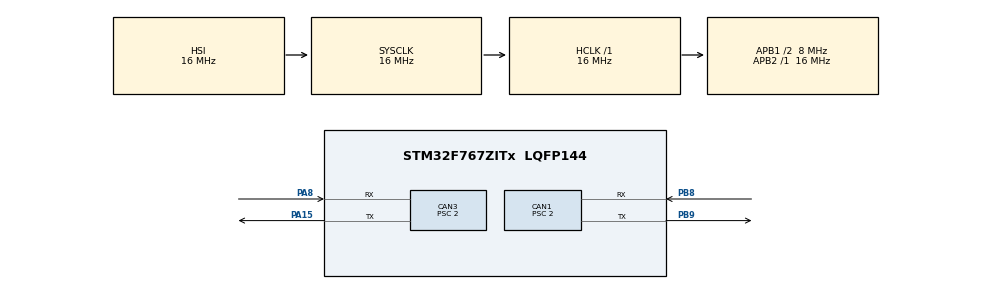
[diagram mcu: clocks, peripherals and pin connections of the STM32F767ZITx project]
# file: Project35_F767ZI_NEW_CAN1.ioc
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CAN1.BS1=CAN_BS1_13TQ
CAN1.BS2=CAN_BS2_2TQ
CAN1.CalculateBaudRate=250000
CAN1.CalculateTimeBit=4000.00
CAN1.CalculateTimeQuantum=250.0
CAN1.Prescaler=2
CAN3.BS1=CAN_BS1_13TQ
CAN3.BS2=CAN_BS2_2TQ
CAN3.CalculateBaudRate=250000
CAN3.CalculateTimeBit=4000.00
CAN3.CalculateTimeQuantum=250.0
CAN3.Prescaler=2
Mcu.Family=STM32F7
Mcu.Name=STM32F767ZITx
Mcu.Package=LQFP144
NVIC.CAN1_RX0_IRQn=true\:0\:0\:false\:false\:true\:true\:true
NVIC.CAN3_RX0_IRQn=true\:0\:0\:false\:false\:true\:true\:true
NVIC.PriorityGroup=NVIC_PRIORITYGROUP_4
PA15.Mode=CAN_Activate
PA15.Signal=CAN3_TX
PA8.Mode=CAN_Activate
PA8.Signal=CAN3_RX
PB8.Mode=CAN_Activate
PB8.Signal=CAN1_RX
PB9.Mode=CAN_Activate
PB9.Signal=CAN1_TX
PH0/OSC_IN.Mode=HSE-External-Oscillator
PH0/OSC_IN.Signal=RCC_OSC_IN
PH1/OSC_OUT.Mode=HSE-External-Oscillator
PH1/OSC_OUT.Signal=RCC_OSC_OUT
ProjectManager.HeapSize=0x200
ProjectManager.StackSize=0x400
ProjectManager.TargetToolchain=EWARM V8.32
RCC.48MHZClocksFreq_Value=24000000
RCC.AHBFreq_Value=16000000
RCC.APB1CLKDivider=RCC_HCLK_DIV2
RCC.APB1Freq_Value=8000000
RCC.APB1TimFreq_Value=16000000
RCC.APB2Freq_Value=16000000
RCC.APB2TimFreq_Value=16000000
RCC.CortexFreq_Value=16000000
RCC.HCLKFreq_Value=16000000
RCC.HSE_VALUE=16000000
RCC.HSI_VALUE=16000000
RCC.LSE_VALUE=32768
RCC.PLLMUL=RCC_PLL_MUL9
RCC.PRESCALERUSB=RCC_USBCLKSOURCE_PLL_DIV1_5
RCC.SYSCLKFreq_VALUE=16000000
RCC.SYSCLKSourceVirtual=RCC_SYSCLKSOURCE_PLLCLK
RCC.USBFreq_Value=96000000
RCC.VCOOutputFreq_Value=192000000
board=NUCLEO-F767ZI

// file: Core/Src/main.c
/* USER CODE BEGIN Header */
/**
  ******************************************************************************
  * @file           : main.c
  * @brief          : Main program body
  ******************************************************************************
  * @attention
  *
  * <h2><center>&copy; Copyright (c) 2021 STMicroelectronics.
  * All rights reserved.</center></h2>
  *
  * This software component is licensed by ST under BSD 3-Clause license,
  * the "License"; You may not use this file except in compliance with the
  * License. You may obtain a copy of the License at:
  *                        opensource.org/licenses/BSD-3-Clause
  *
  ******************************************************************************
  */
/* USER CODE END Header */
#include "main.h"

CAN_HandleTypeDef hcan1;
CAN_HandleTypeDef hcan3;

/* USER CODE BEGIN PV */
CAN_HandleTypeDef hcan1;
CAN_TxHeaderTypeDef pTxHeader;
CAN_RxHeaderTypeDef pRxHeader;
uint32_t pTxMailbox;
uint8_t a[]={0, 0, 0, 0, 0, 0, 0, 0};
uint8_t r[8];
CAN_FilterTypeDef sFilterConfig;

CAN_HandleTypeDef hcan3;
CAN_TxHeaderTypeDef pTx3Header;
CAN_RxHeaderTypeDef pRx3Header;
uint32_t pTx3Mailbox;
uint8_t a3[]={0, 0, 0, 0, 0, 0, 0, 0};
uint8_t r3[8];
CAN_FilterTypeDef s3FilterConfig;

CAN_HandleTypeDef hcan2;
CAN_TxHeaderTypeDef pTx2Header;
CAN_RxHeaderTypeDef pRx2Header;
uint32_t pTx2Mailbox;
uint8_t a2[]={0, 0, 0, 0, 0, 0, 0, 0};
uint8_t r2[8];
CAN_FilterTypeDef s2FilterConfig;
/* USER CODE END PV */

void SystemClock_Config(void);
static void MX_GPIO_Init(void);
static void MX_CAN1_Init(void);
static void MX_CAN3_Init(void);

int main(void)
{

  /* MCU Configuration--------------------------------------------------------*/

  /* Reset of all peripherals, Initializes the Flash interface and the Systick. */
  HAL_Init();

  /* Configure the system clock */
  SystemClock_Config();

  /* Initialize all configured peripherals */
  MX_GPIO_Init();
  MX_CAN1_Init();
  MX_CAN3_Init();
  /* USER CODE BEGIN 2 */
pTxHeader.DLC = 8;
pTxHeader.IDE = CAN_ID_STD;
pTxHeader.RTR = CAN_RTR_DATA;
pTxHeader.StdId = 0x244;

sFilterConfig.FilterFIFOAssignment = CAN_FILTER_FIFO0;
sFilterConfig.FilterIdHigh = 0;
sFilterConfig.FilterIdLow = 0;
sFilterConfig.FilterMaskIdHigh = 0;
sFilterConfig.FilterIdLow = 0;
sFilterConfig.FilterScale = CAN_FILTERSCALE_32BIT;
sFilterConfig.FilterActivation = ENABLE;

HAL_CAN_ConfigFilter(&hcan1, &sFilterConfig);

HAL_CAN_Start(&hcan1);
HAL_CAN_ActivateNotification(&hcan1, CAN_IT_RX_FIFO0_MSG_PENDING);

pTx3Header.DLC = 8;
pTx3Header.IDE = CAN_ID_STD;
pTx3Header.RTR = CAN_RTR_DATA;
pTx3Header.StdId = 0x247;

s3FilterConfig.FilterFIFOAssignment = CAN_FILTER_FIFO0;
s3FilterConfig.FilterIdHigh = 0;
s3FilterConfig.FilterIdLow = 0;
s3FilterConfig.FilterMaskIdHigh = 0;
s3FilterConfig.FilterIdLow = 0;
s3FilterConfig.FilterScale = CAN_FILTERSCALE_32BIT;
s3FilterConfig.FilterActivation = ENABLE;

HAL_CAN_ConfigFilter(&hcan3, &s3FilterConfig);

HAL_CAN_Start(&hcan3);
HAL_CAN_ActivateNotification(&hcan3, CAN_IT_RX_FIFO0_MSG_PENDING);
/*
pTx2Header.DLC = 8;
pTx2Header.IDE = CAN_ID_STD;
pTx2Header.RTR = CAN_RTR_DATA;
pTx2Header.StdId = 0x237;

s2FilterConfig.FilterFIFOAssignment = CAN_FILTER_FIFO0;
s2FilterConfig.FilterIdHigh = 0;
s2FilterConfig.FilterIdLow = 0;
s2FilterConfig.FilterMaskIdHigh = 0;
s2FilterConfig.FilterIdLow = 0;
s2FilterConfig.FilterScale = CAN_FILTERSCALE_32BIT;
s2FilterConfig.FilterActivation = ENABLE;

HAL_CAN_ConfigFilter(&hcan2, &s2FilterConfig);

HAL_CAN_Start(&hcan2);
HAL_CAN_ActivateNotification(&hcan2, CAN_IT_RX_FIFO0_MSG_PENDING);
*/
  /* USER CODE END 2 */

  /* Infinite loop */
  /* USER CODE BEGIN WHILE */
  while (1)
  {
    for(int i=0;i<8;i++){a[i]++; a3[i]++; a2[i]++;}
  HAL_Delay(1000);
    HAL_CAN_AddTxMessage(&hcan1, &pTxHeader, a, &pTxMailbox);
    HAL_CAN_AddTxMessage(&hcan3, &pTx3Header, a3, &pTx3Mailbox);
   // HAL_CAN_AddTxMessage(&hcan2, &pTx2Header, a2, &pTx2Mailbox);
    /* USER CODE END WHILE */

  }
}

void SystemClock_Config(void)
{
  RCC_OscInitTypeDef RCC_OscInitStruct = {0};
  RCC_ClkInitTypeDef RCC_ClkInitStruct = {0};

  /** Configure the main internal regulator output voltage
  */
  __HAL_RCC_PWR_CLK_ENABLE();
  __HAL_PWR_VOLTAGESCALING_CONFIG(PWR_REGULATOR_VOLTAGE_SCALE3);
  /** Initializes the RCC Oscillators according to the specified parameters
  * in the RCC_OscInitTypeDef structure.
  */
  RCC_OscInitStruct.OscillatorType = RCC_OSCILLATORTYPE_HSI;
  RCC_OscInitStruct.HSIState = RCC_HSI_ON;
  RCC_OscInitStruct.HSICalibrationValue = RCC_HSICALIBRATION_DEFAULT;
  RCC_OscInitStruct.PLL.PLLState = RCC_PLL_NONE;
  if (HAL_RCC_OscConfig(&RCC_OscInitStruct) != HAL_OK)
  {
    Error_Handler();
  }
  /** Initializes the CPU, AHB and APB buses clocks
  */
  RCC_ClkInitStruct.ClockType = RCC_CLOCKTYPE_HCLK|RCC_CLOCKTYPE_SYSCLK
                              |RCC_CLOCKTYPE_PCLK1|RCC_CLOCKTYPE_PCLK2;
  RCC_ClkInitStruct.SYSCLKSource = RCC_SYSCLKSOURCE_HSI;
  RCC_ClkInitStruct.AHBCLKDivider = RCC_SYSCLK_DIV1;
  RCC_ClkInitStruct.APB1CLKDivider = RCC_HCLK_DIV2;
  RCC_ClkInitStruct.APB2CLKDivider = RCC_HCLK_DIV1;

  if (HAL_RCC_ClockConfig(&RCC_ClkInitStruct, FLASH_LATENCY_0) != HAL_OK)
  {
    Error_Handler();
  }
}

static void MX_CAN1_Init(void)
{

  hcan1.Instance = CAN1;
  hcan1.Init.Prescaler = 2;
  hcan1.Init.Mode = CAN_MODE_NORMAL;
  hcan1.Init.SyncJumpWidth = CAN_SJW_1TQ;
  hcan1.Init.TimeSeg1 = CAN_BS1_13TQ;
  hcan1.Init.TimeSeg2 = CAN_BS2_2TQ;
  hcan1.Init.TimeTriggeredMode = DISABLE;
  hcan1.Init.AutoBusOff = DISABLE;
  hcan1.Init.AutoWakeUp = DISABLE;
  hcan1.Init.AutoRetransmission = DISABLE;
  hcan1.Init.ReceiveFifoLocked = DISABLE;
  hcan1.Init.TransmitFifoPriority = DISABLE;
  if (HAL_CAN_Init(&hcan1) != HAL_OK)
  {
    Error_Handler();
  }

}

static void MX_CAN3_Init(void)
{

  hcan3.Instance = CAN3;
  hcan3.Init.Prescaler = 2;
  hcan3.Init.Mode = CAN_MODE_NORMAL;
  hcan3.Init.SyncJumpWidth = CAN_SJW_1TQ;
  hcan3.Init.TimeSeg1 = CAN_BS1_13TQ;
  hcan3.Init.TimeSeg2 = CAN_BS2_2TQ;
  hcan3.Init.TimeTriggeredMode = DISABLE;
  hcan3.Init.AutoBusOff = DISABLE;
  hcan3.Init.AutoWakeUp = DISABLE;
  hcan3.Init.AutoRetransmission = DISABLE;
  hcan3.Init.ReceiveFifoLocked = DISABLE;
  hcan3.Init.TransmitFifoPriority = DISABLE;
  if (HAL_CAN_Init(&hcan3) != HAL_OK)
  {
    Error_Handler();
  }

}

static void MX_GPIO_Init(void)
{

  /* GPIO Ports Clock Enable */
  __HAL_RCC_GPIOH_CLK_ENABLE();
  __HAL_RCC_GPIOA_CLK_ENABLE();
  __HAL_RCC_GPIOB_CLK_ENABLE();

}

void Error_Handler(void)
{
  __disable_irq();
  while (1)
  {
  }
}

/************************ (C) COPYRIGHT STMicroelectronics *****END OF FILE****/
